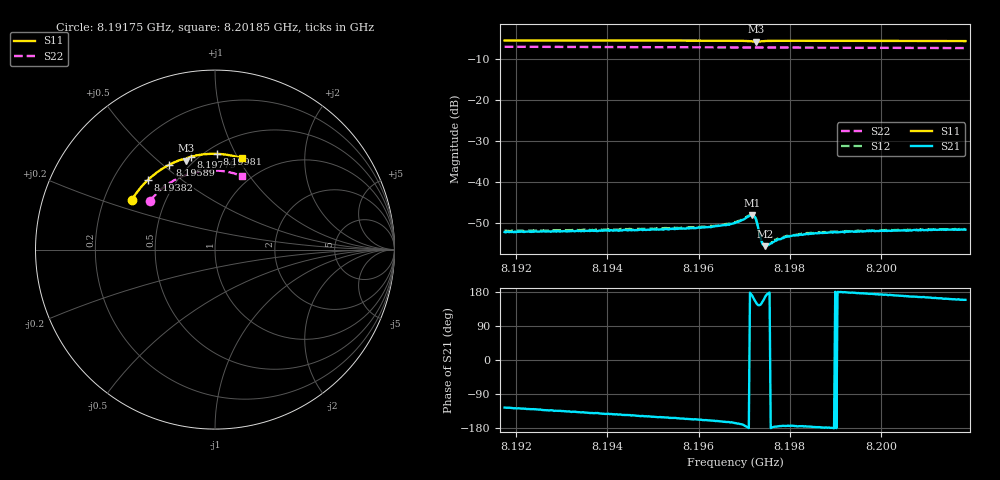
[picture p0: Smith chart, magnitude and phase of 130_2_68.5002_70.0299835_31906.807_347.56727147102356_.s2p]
#  HZ  S  RI  R  50.00
! Rohde & Schwarz Vector Network Analyzer
! Rohde-Schwarz,ZNB20-2Port,1311601062101988,3.16
! Created: UTC 3/20/2024, 4:54:20 PM
! freq[Hz]  re:S11  im:S11  re:S21  im:S21  re:S12  im:S12  re:S22  im:S22
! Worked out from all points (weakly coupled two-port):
!   401 points, 8.19175 GHz to 8.20185 GHz, reference 50 ohm
!   highest |S21| = -48.03 dB at 8.19718 GHz (marker M1); lowest = -55.6 dB at 8.19746 GHz (marker M2)
!   lowest |S11| = -5.6 dB at 8.19725 GHz (marker M3), VSWR 3.18, Z = 22.8 + j31.1 ohm
!   |S11| at or under -10 dB: nowhere
!   |S22| runs from -7.2 to -6.9 dB; largest |S21 - S12| = 0.00024
!   S11 on the Smith chart (normalised r, x): 8.19175 GHz: 0.32, +0.25; 8.19382 GHz: 0.35, +0.38; 8.19589 GHz: 0.40, +0.53; 8.19779 GHz: 0.46, +0.67; 8.19981 GHz: 0.57, +0.84; 8.20185 GHz: 0.74, +1.04
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8.191746e9  -0.4642 0.2758  -0.00143 -0.002  -0.00152 -0.00204  -0.3605 0.2733
8.193439e9  -0.3919 0.3703  -0.00188 -0.00169  -0.002 -0.00168  -0.2948 0.3403
8.193818e9  -0.373 0.389  -0.00199 -0.00162  -0.0021 -0.00157  -0.2781 0.3533
8.195132e9  -0.3001 0.4463  -0.00229 -0.00129  -0.00239 -0.00127  -0.216 0.3922
8.19589e9  -0.2537 0.4735  -0.00252 -0.00106  -0.00261 -0.00103  -0.1774 0.4098
8.196446e9  -0.2175 0.4904  -0.00278 -0.000936  -0.00283 -0.000839  -0.1481 0.4203
8.1968e9  -0.1927 0.4994  -0.00308 -0.000746  -0.00319 -0.000652  -0.1291 0.4259
8.197128e9  -0.1658 0.5022  -0.0039 0.000157  -0.00399 0.000359  -0.111 0.4302
8.197179e9  -0.1624 0.5001  -0.0039 0.000741  -0.00396 0.000941  -0.1081 0.4309
8.197204e9  -0.1613 0.4984  -0.00376 0.00111  -0.00379 0.00127  -0.1069 0.4311
8.197254e9  -0.1618 0.4962  -0.00316 0.00161  -0.00316 0.00185  -0.1042 0.4315
8.197381e9  -0.1628 0.5028  -0.00164 0.000967  -0.00161 0.00102  -0.0974 0.4332
8.197406e9  -0.1614 0.5045  -0.00157 0.00074  -0.0016 0.00081  -0.096 0.4334
8.197457e9  -0.1581 0.5077  -0.0016 0.000405  -0.00163 0.000485  -0.0933 0.434
8.197507e9  -0.1544 0.5101  -0.00167 0.000181  -0.0017 0.000248  -0.0904 0.4345
8.197684e9  -0.1409 0.5157  -0.00192 -0.000137  -0.00198 -9.41e-05  -0.0807 0.4362
8.197785e9  -0.1335 0.5181  -0.00199 -0.000198  -0.00206 -0.00011  -0.075 0.4371
8.198013e9  -0.117 0.5222  -0.00218 -0.000252  -0.00221 -0.000149  -0.0622 0.4387
8.198493e9  -0.0828 0.5284  -0.00235 -0.000141  -0.00238 -2.27e-05  -0.0352 0.4407
8.199807e9  0.0106 0.5334  -0.00254 0.000231  -0.00254 0.000365  0.0392 0.438
8.200186e9  0.0374 0.5318  -0.00253 0.000358  -0.00255 0.0005  0.0604 0.4349
8.201853e9  0.1526 0.5085  -0.00245 0.000952  -0.00243 0.00109  0.1515 0.4087
